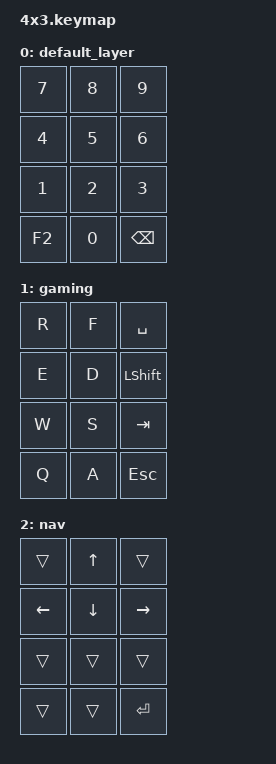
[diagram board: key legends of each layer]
#include <behaviors/mouse_keys.dtsi>
#include <dt-bindings/zmk/mouse.h>
#include <behaviors.dtsi>
#include <dt-bindings/zmk/keys.h>

#define ZMK_POINTING_DEFAULT_MOVE_VAL 1650  // default is 600

/ {
    combos {
        compatible = "zmk,combos";

        bootloader {
            bindings = <&bootloader>;
            key-positions = <2 5 8 11 1 0>;
        };

        gaming_trigger {
            bindings = <&tog 1>;
            key-positions = <0 1 2 9 11 10>;
        };

        nav_trigger {
            bindings = <&tog 2>;
            key-positions = <9 11 7>;
        };
    };

    keymap {
        compatible = "zmk,keymap";

        default_layer {
            bindings = <
&kp N7  &kp N8  &kp N9
&kp N4  &kp N5  &kp N6
&kp N1  &kp N2  &kp N3
&kp F2  &kp N0  &kp BSPC
            >;
        };

        gaming {
            bindings = <
&kp R  &kp F  &kp SPACE
&kp E  &kp D  &kp LSHFT
&kp W  &kp S  &kp TAB
&kp Q  &kp A  &kp ESC
            >;
        };

        nav {
            bindings = <
&trans          &kp UP_ARROW  &trans
&kp LEFT_ARROW  &kp DOWN      &kp RIGHT
&trans          &trans        &trans
&trans          &trans        &kp ENTER
            >;
        };
    };
};
